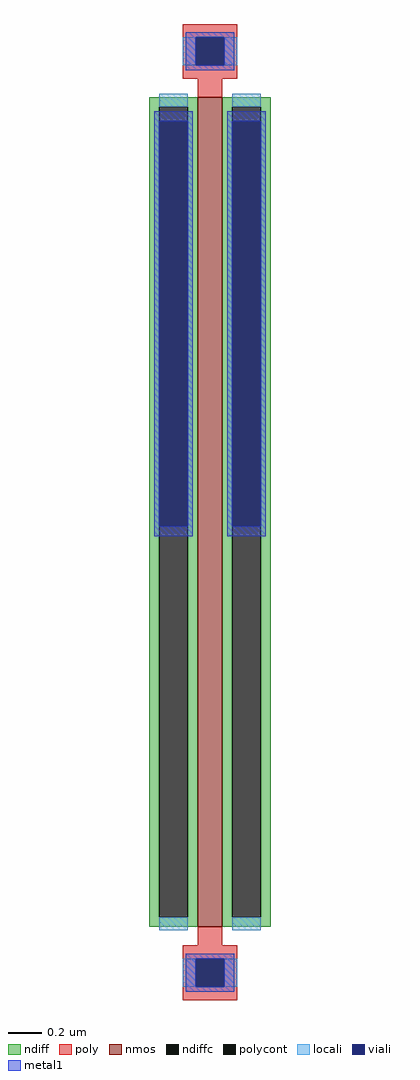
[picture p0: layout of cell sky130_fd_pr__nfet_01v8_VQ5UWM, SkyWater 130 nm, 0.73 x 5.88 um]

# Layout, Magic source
magic
tech sky130A
magscale 1 2
<< nmos >>
rect -15 -500 15 500
<< ndiff >>
rect -73 488 -15 500
rect -73 -488 -61 488
rect -27 -488 -15 488
rect -73 -500 -15 -488
rect 15 488 73 500
rect 15 -488 27 488
rect 61 -488 73 488
rect 15 -500 73 -488
<< ndiffc >>
rect -61 -488 -27 488
rect 27 -488 61 488
<< poly >>
rect -33 572 33 588
rect -33 538 -17 572
rect 17 538 33 572
rect -33 522 33 538
rect -15 500 15 522
rect -15 -522 15 -500
rect -33 -538 33 -522
rect -33 -572 -17 -538
rect 17 -572 33 -538
rect -33 -588 33 -572
<< polycont >>
rect -17 538 17 572
rect -17 -572 17 -538
<< locali >>
rect -33 538 -17 572
rect 17 538 33 572
rect -61 488 -27 504
rect -61 -504 -27 -488
rect 27 488 61 504
rect 27 -504 61 -488
rect -33 -572 -17 -538
rect 17 -572 33 -538
<< viali >>
rect -17 538 17 572
rect -61 -17 -27 471
rect 27 -17 61 471
rect -17 -572 17 -538
<< metal1 >>
rect -29 572 29 578
rect -29 538 -17 572
rect 17 538 29 572
rect -29 532 29 538
rect -67 471 -21 483
rect -67 -17 -61 471
rect -27 -17 -21 471
rect -67 -29 -21 -17
rect 21 471 67 483
rect 21 -17 27 471
rect 61 -17 67 471
rect 21 -29 67 -17
rect -29 -538 29 -532
rect -29 -572 -17 -538
rect 17 -572 29 -538
rect -29 -578 29 -572
<< properties >>
string gencell sky130_fd_pr__nfet_01v8
string library sky130
string parameters w 5.0 l 0.15 m 1 nf 1 diffcov 100 polycov 100 guard 0 glc 1 grc 1 gtc 1 gbc 1 tbcov 100 rlcov 100 topc 1 botc 1 poverlap 0 doverlap 1 lmin 0.15 wmin 0.42 compatible {sky130_fd_pr__nfet_01v8 sky130_fd_pr__nfet_01v8_lvt  sky130_fd_bs_flash__special_sonosfet_star  sky130_fd_pr__nfet_g5v0d10v5 sky130_fd_pr__nfet_05v0_nvt  sky130_fd_pr__nfet_03v3_nvt} full_metal 1 viasrc -50 viadrn -50 viagate 100 viagb 0 viagr 0 viagl 0 viagt 0
<< end >>
